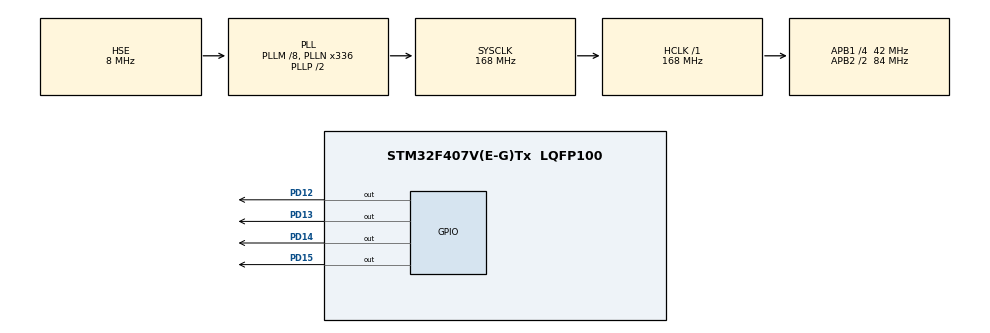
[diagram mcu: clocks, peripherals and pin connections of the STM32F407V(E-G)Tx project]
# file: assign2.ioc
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FREERTOS.Tasks01=defaultTask,-3,128,StartDefaultTask,Default,NULL,Dynamic,NULL,NULL
FREERTOS.configUSE_NEWLIB_REENTRANT=1
Mcu.Family=STM32F4
Mcu.Name=STM32F407V(E-G)Tx
Mcu.Package=LQFP100
NVIC.PriorityGroup=NVIC_PRIORITYGROUP_4
NVIC.TIM1_UP_TIM10_IRQn=true\:15\:0\:false\:false\:true\:false\:false\:true\:true
NVIC.TimeBase=TIM1_UP_TIM10_IRQn
NVIC.TimeBaseIP=TIM1
PD12.Signal=GPIO_Output
PD13.Signal=GPIO_Output
PD14.Signal=GPIO_Output
PD15.Signal=GPIO_Output
ProjectManager.HeapSize=0x200
ProjectManager.StackSize=0x400
ProjectManager.TargetToolchain=STM32CubeIDE
RCC.48MHZClocksFreq_Value=48000000
RCC.AHBFreq_Value=168000000
RCC.APB1CLKDivider=RCC_HCLK_DIV4
RCC.APB1Freq_Value=42000000
RCC.APB1TimFreq_Value=84000000
RCC.APB2CLKDivider=RCC_HCLK_DIV2
RCC.APB2Freq_Value=84000000
RCC.APB2TimFreq_Value=168000000
RCC.CortexFreq_Value=168000000
RCC.HCLKFreq_Value=168000000
RCC.HSE_VALUE=8000000
RCC.HSI_VALUE=16000000
RCC.PLLM=8
RCC.PLLN=336
RCC.PLLQ=7
RCC.PLLSourceVirtual=RCC_PLLSOURCE_HSE
RCC.SYSCLKFreq_VALUE=168000000
RCC.SYSCLKSource=RCC_SYSCLKSOURCE_PLLCLK
RCC.VCOOutputFreq_Value=336000000
VP_FREERTOS_VS_CMSIS_V1.Mode=CMSIS_V1
VP_SYS_VS_tim1.Mode=TIM1
board=STM32F407G-DISC1

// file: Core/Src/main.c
/* USER CODE BEGIN Header */
/**
  ******************************************************************************
  * @file           : main.c
  * @brief          : Main program body
  ******************************************************************************
  * @attention
  *
  * Copyright (c) 2024 STMicroelectronics.
  * All rights reserved.
  *
  * This software is licensed under terms that can be found in the LICENSE file
  * in the root directory of this software component.
  * If no LICENSE file comes with this software, it is provided AS-IS.
  *
  ******************************************************************************
  */
/* USER CODE END Header */
#include "main.h"
#include "cmsis_os.h"

osThreadId defaultTaskHandle;

void SystemClock_Config(void);
static void MX_GPIO_Init(void);
void StartDefaultTask(void const * argument);

/* USER CODE BEGIN 0 */

void vAperiodicTask(void *pvParam)
{
	uint16_t pin = (uint16_t)pvParam;
	while(1)
	{
       HAL_GPIO_TogglePin(GPIOD, pin);
       vTaskDelay(2000 / portTICK_RATE_MS);

	}
	vTaskDelete(NULL);
}
/* USER CODE END 0 */

int main(void)
{

  /* USER CODE BEGIN 1 */
         BaseType_t xRet;
  /* USER CODE END 1 */

  /* MCU Configuration--------------------------------------------------------*/

  /* Reset of all peripherals, Initializes the Flash interface and the Systick. */
  HAL_Init();

  /* Configure the system clock */
  SystemClock_Config();

  /* Initialize all configured peripherals */
  MX_GPIO_Init();

  /* Create the thread(s) */
  /* definition and creation of defaultTask */
  osThreadDef(defaultTask, StartDefaultTask, osPriorityIdle, 0, 128);
  defaultTaskHandle = osThreadCreate(osThread(defaultTask), NULL);

  /* USER CODE BEGIN RTOS_THREADS */
  /* add threads, ... */
     xRet = xTaskCreate(vAperiodicTask, "Task1", configMINIMAL_STACK_SIZE , (void *)GPIO_PIN_12, 4, NULL);
     if(xRet != pdTRUE)
    	    Error_Handler();

     xRet = xTaskCreate(vAperiodicTask, "Task2", configMINIMAL_STACK_SIZE , (void *)GPIO_PIN_13, 4, NULL);
     if(xRet != pdTRUE)
    	    Error_Handler();

     xRet = xTaskCreate(vAperiodicTask, "Task3", configMINIMAL_STACK_SIZE , (void *)GPIO_PIN_14, 4, NULL);
     if(xRet != pdTRUE)
    	     Error_Handler();

     xRet = xTaskCreate(vAperiodicTask, "Task4", configMINIMAL_STACK_SIZE, (void *)GPIO_PIN_15, 4, NULL);
     if(xRet != pdTRUE)
    	     Error_Handler();
  /* USER CODE END RTOS_THREADS */

  /* Start scheduler */
  osKernelStart();

  /* We should never get here as control is now taken by the scheduler */

  /* Infinite loop */
  while (1)
  {

  }
}

void SystemClock_Config(void)
{
  RCC_OscInitTypeDef RCC_OscInitStruct = {0};
  RCC_ClkInitTypeDef RCC_ClkInitStruct = {0};

  /** Configure the main internal regulator output voltage
  */
  __HAL_RCC_PWR_CLK_ENABLE();
  __HAL_PWR_VOLTAGESCALING_CONFIG(PWR_REGULATOR_VOLTAGE_SCALE1);

  /** Initializes the RCC Oscillators according to the specified parameters
  * in the RCC_OscInitTypeDef structure.
  */
  RCC_OscInitStruct.OscillatorType = RCC_OSCILLATORTYPE_HSE;
  RCC_OscInitStruct.HSEState = RCC_HSE_OFF;
  RCC_OscInitStruct.PLL.PLLState = RCC_PLL_ON;
  RCC_OscInitStruct.PLL.PLLSource = RCC_PLLSOURCE_HSE;
  RCC_OscInitStruct.PLL.PLLM = 8;
  RCC_OscInitStruct.PLL.PLLN = 336;
  RCC_OscInitStruct.PLL.PLLP = RCC_PLLP_DIV2;
  RCC_OscInitStruct.PLL.PLLQ = 7;
  if (HAL_RCC_OscConfig(&RCC_OscInitStruct) != HAL_OK)
  {
    Error_Handler();
  }

  /** Initializes the CPU, AHB and APB buses clocks
  */
  RCC_ClkInitStruct.ClockType = RCC_CLOCKTYPE_HCLK|RCC_CLOCKTYPE_SYSCLK
                              |RCC_CLOCKTYPE_PCLK1|RCC_CLOCKTYPE_PCLK2;
  RCC_ClkInitStruct.SYSCLKSource = RCC_SYSCLKSOURCE_PLLCLK;
  RCC_ClkInitStruct.AHBCLKDivider = RCC_SYSCLK_DIV1;
  RCC_ClkInitStruct.APB1CLKDivider = RCC_HCLK_DIV4;
  RCC_ClkInitStruct.APB2CLKDivider = RCC_HCLK_DIV2;

  if (HAL_RCC_ClockConfig(&RCC_ClkInitStruct, FLASH_LATENCY_5) != HAL_OK)
  {
    Error_Handler();
  }
}

static void MX_GPIO_Init(void)
{
  GPIO_InitTypeDef GPIO_InitStruct = {0};

  /* GPIO Ports Clock Enable */
  __HAL_RCC_GPIOD_CLK_ENABLE();

  /*Configure GPIO pin Output Level */
  HAL_GPIO_WritePin(GPIOD, GPIO_PIN_12|GPIO_PIN_13|GPIO_PIN_14|GPIO_PIN_15, GPIO_PIN_RESET);

  /*Configure GPIO pins : PD12 PD13 PD14 PD15 */
  GPIO_InitStruct.Pin = GPIO_PIN_12|GPIO_PIN_13|GPIO_PIN_14|GPIO_PIN_15;
  GPIO_InitStruct.Mode = GPIO_MODE_OUTPUT_PP;
  GPIO_InitStruct.Pull = GPIO_NOPULL;
  GPIO_InitStruct.Speed = GPIO_SPEED_FREQ_LOW;
  HAL_GPIO_Init(GPIOD, &GPIO_InitStruct);

}

void StartDefaultTask(void const * argument)
{
  for(;;)
  {
    osDelay(1);
  }
}

void HAL_TIM_PeriodElapsedCallback(TIM_HandleTypeDef *htim)
{
  if (htim->Instance == TIM1) {
    HAL_IncTick();
  }
}

void Error_Handler(void)
{
  __disable_irq();
  while (1)
  {
  }
}
